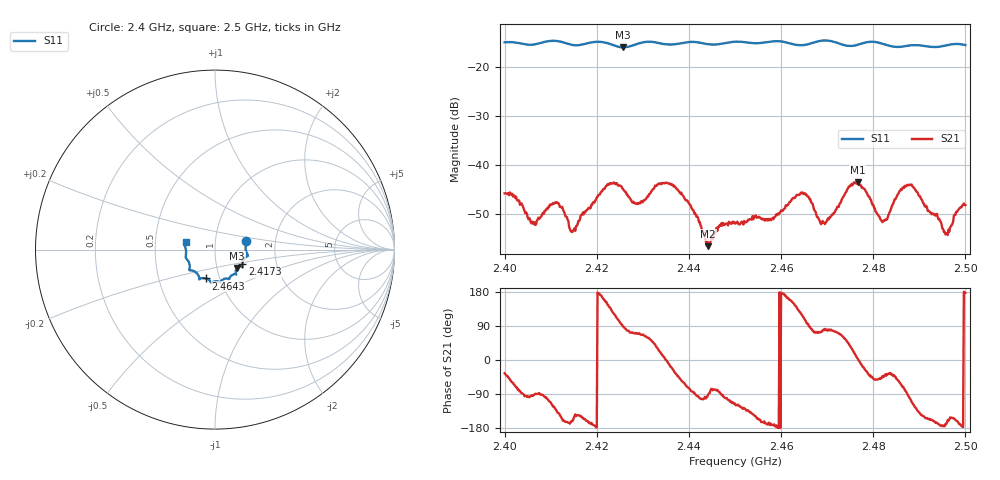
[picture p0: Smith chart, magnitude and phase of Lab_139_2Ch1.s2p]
# Hz S RI R 50
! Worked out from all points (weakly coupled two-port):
!   601 points, 2.4 GHz to 2.5 GHz, reference 50 ohm
!   highest |S21| = -43.54 dB at 2.4767 GHz (marker M1); lowest = -56.7 dB at 2.4442 GHz (marker M2)
!   lowest |S11| = -15.9 dB at 2.4257 GHz (marker M3), VSWR 1.38, Z = 62.5 - j13.1 ohm
!   |S11| at or under -10 dB: start of sweep to end of sweep
!   S12 and S22 are empty: the file has one direction only
!   S11 on the Smith chart (normalised r, x): 2.4 GHz: 1.41, +0.14; 2.4173 GHz: 1.34, -0.23; 2.4643 GHz: 0.86, -0.28; 2.5 GHz: 0.72, +0.06
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2.4e9  0.1733 0.0495  0.00419 -0.00293  0 0  0 0
2.406333e9  0.1714 -0.00253  -0.000115 -0.00246  0 0  0 0
2.411e9  0.1833 -0.0346  -0.00261 -0.00321  0 0  0 0
2.4145e9  0.1627 -0.051  -0.00195 -0.000674  0 0  0 0
2.416667e9  0.1529 -0.0744  -0.00268 -0.00149  0 0  0 0
2.417333e9  0.1523 -0.0817  -0.003 -0.00138  0 0  0 0
2.4225e9  0.1487 -0.0938  -0.00511 0.00367  0 0  0 0
2.425667e9  0.1229 -0.1021  0.000122 0.0057  0 0  0 0
2.429e9  0.116 -0.1312  0.0014 0.00372  0 0  0 0
2.433333e9  0.1131 -0.137  0.00563 0.00302  0 0  0 0
2.438333e9  0.0817 -0.1558  0.00306 -0.00421  0 0  0 0
2.444167e9  0.0621 -0.1607  -4.35e-05 -0.00147  0 0  0 0
2.45e9  0.0295 -0.1808  -0.00105 -0.00227  0 0  0 0
2.457833e9  -0.018 -0.1828  -0.00268 -0.000394  0 0  0 0
2.464333e9  -0.0499 -0.1606  -0.00276 0.00441  0 0  0 0
2.466667e9  -0.0759 -0.1597  0.000615 0.00402  0 0  0 0
2.469333e9  -0.0875 -0.1665  0.000515 0.00251  0 0  0 0
2.476667e9  -0.1231 -0.1175  0.00665 0.000303  0 0  0 0
2.483333e9  -0.1406 -0.0898  0.00248 -0.00187  0 0  0 0
2.487833e9  -0.1591 -0.0517  -0.000973 -0.00621  0 0  0 0
2.495667e9  -0.1662 0.0164  -0.0019 -0.00038  0 0  0 0
2.5e9  -0.1636 0.0421  -0.00387 0.000201  0 0  0 0
